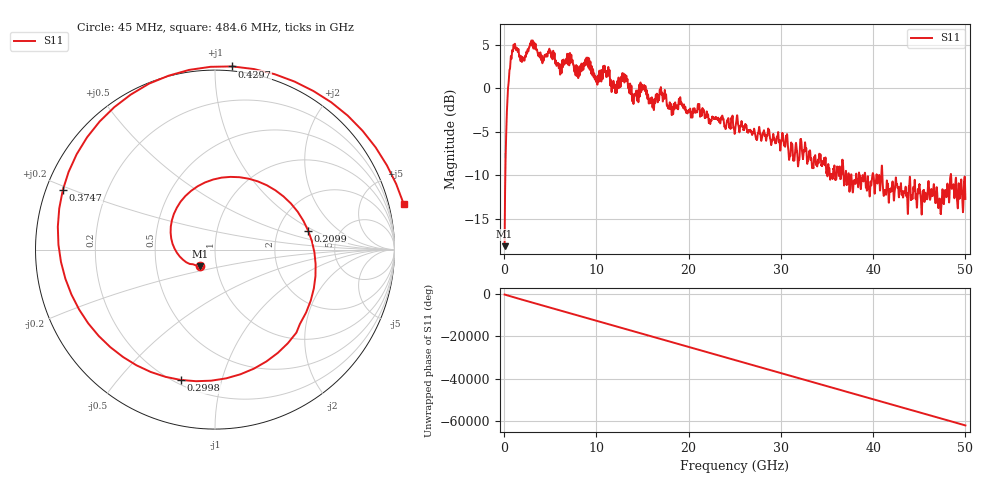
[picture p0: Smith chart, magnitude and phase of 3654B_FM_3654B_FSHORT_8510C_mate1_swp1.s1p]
!Created with skrf (http://scikit-rf.org).
# Hz S RI R 50.0
!freq ReS11 ImS11
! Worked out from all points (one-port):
!   10001 points, 45 MHz to 50 GHz, reference 50 ohm
!   lowest |S11| = -18.1 dB at 45 MHz (marker M1), VSWR 1.28, Z = 41.8 - j7.94 ohm
!   |S11| at or under -10 dB: 39.14 GHz to 39.92 GHz (781.1 MHz wide, 1.98 % of centre); 41 GHz to 48.4 GHz (7.398 GHz wide, 16.6 % of centre); 48.45 GHz to end of sweep (the widest 3 of 21)
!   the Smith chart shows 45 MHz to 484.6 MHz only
!   S11 on the Smith chart (normalised r, x): 45 MHz: 0.84, -0.16; 209.9 MHz: 2.97, +0.87; 299.8 MHz: 0.22, -0.75; 374.7 MHz: 0.05, +0.19; 429.7 MHz: -0.03, +1.10; 484.6 MHz: -2.53, +7.56
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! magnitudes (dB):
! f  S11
! 45 MHz  -18.1
! 209.9 MHz  -5.5
! 299.8 MHz  -2.5
! 374.7 MHz  -0.8
! 429.7 MHz  0.2
! 484.6 MHz  0.7
! 794.3 MHz  3.4
! 1.169 GHz  5.1
! 1.983 GHz  3.6
! 3.032 GHz  4.9
! 6.289 GHz  3.2
! 8.992 GHz  2.7
! 10.02 GHz  1.2
! 10.95 GHz  1.8
! 11.84 GHz  0.9
! 12.53 GHz  1.0
! 18.78 GHz  -2.0
! 25.02 GHz  -5.1
! 31.27 GHz  -7.1
! 32.32 GHz  -7.5
! 37.51 GHz  -10.7
! 40.77 GHz  -11.5
! 41.27 GHz  -11.7
! 43.76 GHz  -14.4
! 46.46 GHz  -12.2
! 47.21 GHz  -12.7
! 48.53 GHz  -11.5
! 50 GHz  -12.7
